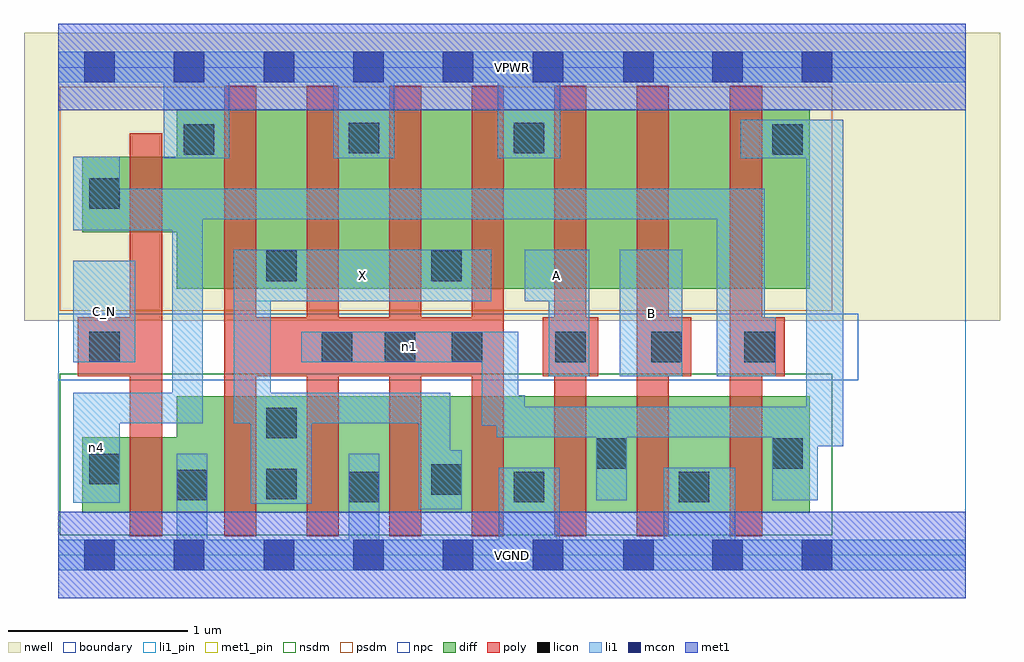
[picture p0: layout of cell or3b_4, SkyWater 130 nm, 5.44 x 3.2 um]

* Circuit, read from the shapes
.subckt or3b_4 A B C_N VGND VPWR X n1 n4
XM1 VGND C_N n4 VSUBS sky130_fd_pr__nfet_01v8 w=0.42 l=0.18
XM2 X n1 VGND VSUBS sky130_fd_pr__nfet_01v8 w=0.65 l=0.18 m=4
XM3 n1 A VGND VSUBS sky130_fd_pr__nfet_01v8 w=0.65 l=0.18
XM4 VGND B n1 VSUBS sky130_fd_pr__nfet_01v8 w=0.65 l=0.18
XM5 n1 n4 VGND VSUBS sky130_fd_pr__nfet_01v8 w=0.65 l=0.18
XM6 VPWR C_N n4 n2 sky130_fd_pr__pfet_01v8 w=0.42 l=0.18
XM7 X n1 VPWR n2 sky130_fd_pr__pfet_01v8 w=1 l=0.18 m=4
XM8 n3 A VPWR n2 sky130_fd_pr__pfet_01v8 w=1 l=0.18
XM9 n5 B n3 n2 sky130_fd_pr__pfet_01v8 w=1 l=0.18
XM10 n1 n4 n5 n2 sky130_fd_pr__pfet_01v8 w=1 l=0.18
.ends

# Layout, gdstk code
import gdstk
lib = gdstk.Library(unit=1e-6, precision=1e-09)
def R(c, l, rs):  # rectangles x0, y0, x1, y1
    for r in rs: c.add(gdstk.rectangle(r[:2], r[2:], *l))
def A(c, l, x, y, w, h, nx, ny, dx, dy):  # array of equal rectangles
    R(c, l, [(x+i*dx, y+j*dy, x+i*dx+w, y+j*dy+h) for i in range(nx) for j in range(ny)])
nwell = (64, 20)
diff = (65, 20)
poly = (66, 20)
licon = (66, 44)
li1_pin = (67, 16)
li1 = (67, 20)
mcon = (67, 44)
met1_pin = (68, 16)
met1 = (68, 20)
nsdm = (93, 44)
psdm = (94, 20)
npc = (95, 20)
boundary = (235, 4)

or3b_4 = lib.new_cell('or3b_4')
R(or3b_4, nwell, [(-0.19,1.305,5.25,2.91), (0,1.305,5.06,2.91)])
R(or3b_4, diff, [(0.135,0.235,4.19,0.655), (0.66,0.235,4.19,0.885), (0.66,1.485,4.19,2.485), (0.135,1.8,4.19,2.22)])
A(or3b_4, poly, 0.925, 0.105, 0.18, 2.51, 6, 1, 0.46, 0)
R(or3b_4, poly, [(0.4,0.105,0.58,2.35), (3.745,0.105,3.925,2.615), (0.11,0.995,0.58,1.325), (0.925,0.995,2.485,1.325), (2.7,0.995,3.01,1.325), (3.225,0.995,3.53,1.325), (3.745,0.995,4.05,1.325)])
A(or3b_4, licon, 1.62, 0.295, 0.17, 0.17, 3, 1, 0.92, 0)
R(or3b_4, licon, [(0.66,0.305,0.83,0.475), (1.16,0.31,1.33,0.48), (2.08,0.335,2.25,0.505), (0.175,0.395,0.345,0.565), (3,0.48,3.17,0.65), (3.98,0.48,4.15,0.65), (1.16,0.65,1.33,0.82), (0.175,1.075,0.345,1.245), (1.47,1.075,1.64,1.245), (1.82,1.075,1.99,1.245), (2.195,1.075,2.365,1.245), (2.77,1.075,2.94,1.245), (3.305,1.075,3.475,1.245), (3.825,1.075,3.995,1.245), (1.16,1.525,1.33,1.695), (2.08,1.525,2.25,1.695), (0.175,1.93,0.345,2.1), (0.7,2.23,0.87,2.4), (3.98,2.23,4.15,2.4), (1.62,2.24,1.79,2.41), (2.54,2.24,2.71,2.41)])
R(or3b_4, li1_pin, [(3.13,0.995,3.48,1.7), (0.085,1.075,0.43,1.64), (0.98,1.415,2.415,1.7), (2.6,1.415,2.96,1.7)])
R(or3b_4, li1, [(0,-0.085,5.06,0.085), (0.66,-0.085,0.83,0.565), (1.62,-0.085,1.79,0.565), (2.455,-0.085,2.795,0.485), (3.375,-0.085,3.775,0.485), (2.01,0.255,2.185,0.905), (2.01,0.255,2.25,0.585), (1.075,0.285,1.415,0.905), (0.085,0.29,0.345,0.905), (3,0.305,3.17,0.825), (3.98,0.305,4.235,0.825), (4.17,0.605,4.375,2.425), (2.445,0.655,4.375,0.825), (2.36,0.72,2.565,1.245), (2.36,0.72,2.6,0.89), (0.085,0.735,0.805,0.905), (0.635,0.735,0.805,2.04), (0.98,0.735,2.185,0.905), (0.98,0.735,1.185,1.7), (2.735,0.995,2.96,1.7), (3.13,0.995,3.48,1.7), (3.67,0.995,3.94,2.04), (3.67,0.995,4,1.325), (0.085,1.075,0.43,1.64), (1.355,1.075,2.565,1.245), (0.98,1.415,2.415,1.7), (2.6,1.415,2.96,1.7), (0.085,1.81,0.345,2.22), (0.085,1.81,0.805,2.04), (0.085,1.87,3.94,2.04), (0.59,2.21,0.955,2.805), (1.535,2.21,1.875,2.805), (2.45,2.21,2.8,2.805), (3.805,2.21,4.375,2.425), (0,2.635,5.06,2.805)])
A(or3b_4, mcon, 0.145, -0.085, 0.17, 0.17, 6, 2, 0.5, 2.72)
R(or3b_4, mcon, [(3.15,-0.085,3.32,0.085), (3.645,-0.085,3.815,0.085), (4.145,-0.085,4.315,0.085), (3.15,2.635,3.32,2.805), (3.645,2.635,3.815,2.805), (4.145,2.635,4.315,2.805)])
R(or3b_4, met1_pin, [(0,-0.24,5.06,0.24), (0,2.48,5.06,2.96)])
R(or3b_4, met1, [(0,-0.24,5.06,0.24), (0,2.48,5.06,2.96)])
R(or3b_4, nsdm, [(0.01,0.11,4.315,1.01)])
R(or3b_4, psdm, [(0.01,1.36,4.315,2.61)])
R(or3b_4, npc, [(0,0.975,4.46,1.345)])
R(or3b_4, boundary, [(0,0,5.06,2.72)])
or3b_4.add(gdstk.Label('A', (2.78,1.557), layer=67, texttype=5))
or3b_4.add(gdstk.Label('B', (3.305,1.347), layer=67, texttype=5))
or3b_4.add(gdstk.Label('C_N', (0.257,1.357), layer=67, texttype=5))
or3b_4.add(gdstk.Label('X', (1.697,1.557), layer=67, texttype=5))
or3b_4.add(gdstk.Label('n4', (0.215,0.597), layer=67, texttype=5))
or3b_4.add(gdstk.Label('n1', (1.96,1.16), layer=67, texttype=5))
or3b_4.add(gdstk.Label('VPWR', (2.53,2.72), layer=68, texttype=5))
or3b_4.add(gdstk.Label('VGND', (2.53,0), layer=68, texttype=5))
or3b_4.add(gdstk.Label('A', (2.78,1.557), layer=67, texttype=16))
or3b_4.add(gdstk.Label('B', (3.305,1.347), layer=67, texttype=16))
or3b_4.add(gdstk.Label('C_N', (0.257,1.357), layer=67, texttype=16))
or3b_4.add(gdstk.Label('X', (1.697,1.557), layer=67, texttype=16))
or3b_4.add(gdstk.Label('VPWR', (2.53,2.72), layer=68, texttype=16))
or3b_4.add(gdstk.Label('VGND', (2.53,0), layer=68, texttype=16))

lib.write_gds('or3b_4.gds')
